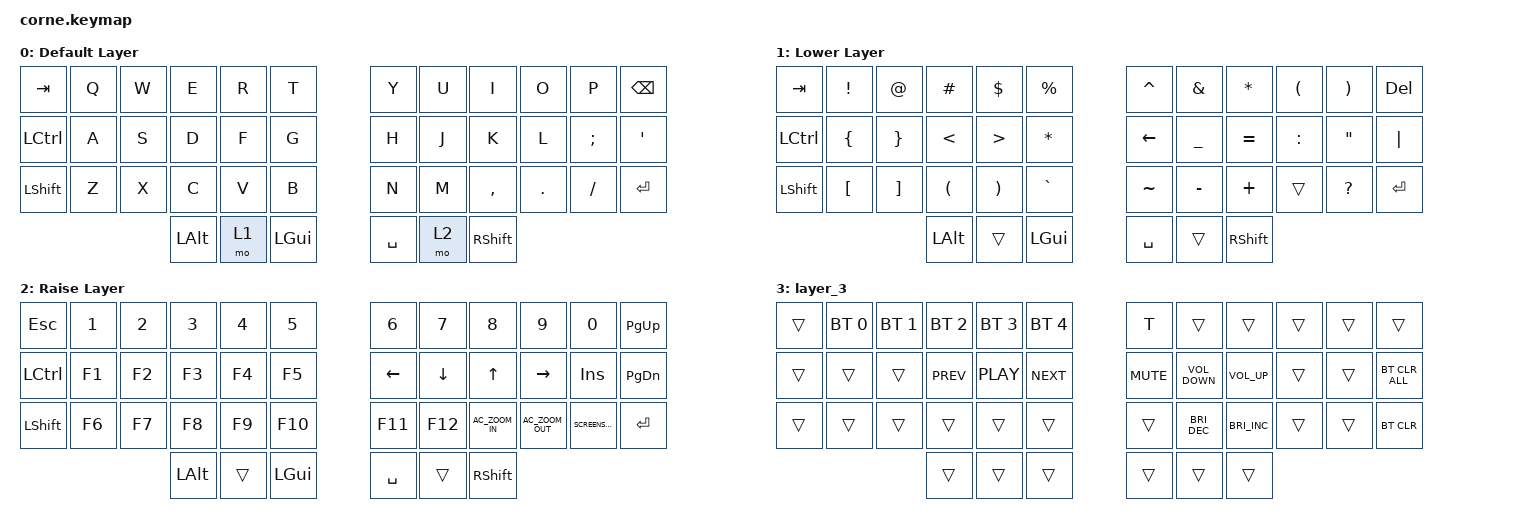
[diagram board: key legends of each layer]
/*
 * Copyright (c) 2020 The ZMK Contributors
 *
 * SPDX-License-Identifier: MIT
 */

#include <behaviors.dtsi>
#include <dt-bindings/zmk/bt.h>
#include <dt-bindings/zmk/keys.h>

/ {
    combos {
        compatible = "zmk,combos";

        left_parenth {
            bindings = <&kp LEFT_PARENTHESIS>;
            key-positions = <4 5>;
        };

        right_parenth {
            bindings = <&kp RIGHT_PARENTHESIS>;
            key-positions = <7 6>;
        };

        left_brace {
            bindings = <&kp LEFT_BRACE>;
            key-positions = <16 17>;
        };

        right_brace {
            bindings = <&kp RIGHT_BRACE>;
            key-positions = <19 18>;
        };

        left_bracket {
            bindings = <&kp LEFT_BRACKET>;
            key-positions = <28 29>;
        };

        right_bracket {
            bindings = <&kp RIGHT_BRACKET>;
            key-positions = <31 30>;
        };

        third_layer {
            bindings = <&mo 3>;
            key-positions = <37 40>;
        };

        capslock {
            bindings = <&kp CAPS>;
            key-positions = <24 41>;
            layers = <0>;
        };

        escape {
            bindings = <&kp ESCAPE>;
            key-positions = <19 20>;
        };
    };

    keymap {
        compatible = "zmk,keymap";

        default_layer {
            display-name = "Default Layer";

            // -----------------------------------------------------------------------------------------
            // |  TAB |  Q  |  W  |  E  |  R  |  T  |   |  Y  |  U   |  I  |  O  |  P  | BSPC |
            // | CTRL |  A  |  S  |  D  |  F  |  G  |   |  H  |  J   |  K  |  L  |  ;  |  '   |
            // | SHFT |  Z  |  X  |  C  |  V  |  B  |   |  N  |  M   |  ,  |  .  |  /  | ESC  |
            //                    | GUI | LWR | SPC |   | ENT | RSE  | ALT |

            bindings = <
&kp TAB    &kp Q  &kp W  &kp E         &kp R  &kp T           &kp Y      &kp U  &kp I       &kp O    &kp P     &kp BSPC
&kp LCTRL  &kp A  &kp S  &kp D         &kp F  &kp G           &kp H      &kp J  &kp K       &kp L    &kp SEMI  &kp SQT
&kp LSHFT  &kp Z  &kp X  &kp C         &kp V  &kp B           &kp N      &kp M  &kp COMMA   &kp DOT  &kp FSLH  &kp ENTER
                         &kp LEFT_ALT  &mo 1  &kp LEFT_GUI    &kp SPACE  &mo 2  &kp RSHIFT
            >;
        };

        lower_layer {
            display-name = "Lower Layer";

            // -----------------------------------------------------------------------------------------
            // |  TAB |  1  |  2  |  3  |  4  |  5  |   |  6  |  7  |  8  |  9  |  0  | BSPC |
            // | BTCLR| BT1 | BT2 | BT3 | BT4 | BT5 |   | LFT | DWN |  UP | RGT |     |      |
            // | SHFT |     |     |     |     |     |   |     |     |     |     |     |      |
            //                    | GUI |     | SPC |   | ENT |     | ALT |

            bindings = <
&kp TAB     &kp EXCLAMATION   &kp AT_SIGN        &kp HASH              &kp DOLLAR             &kp PERCENT     &kp CARET  &kp AMPERSAND   &kp ASTERISK  &kp LEFT_PARENTHESIS  &kp RIGHT_PARENTHESIS  &kp DELETE
&kp LCTRL   &kp LEFT_BRACE    &kp RIGHT_BRACE    &kp LESS_THAN         &kp GREATER_THAN       &kp ASTERISK    &kp LEFT   &kp UNDERSCORE  &kp EQUAL     &kp COLON             &kp DOUBLE_QUOTES      &kp PIPE
&kp LSHIFT  &kp LEFT_BRACKET  &kp RIGHT_BRACKET  &kp LEFT_PARENTHESIS  &kp RIGHT_PARENTHESIS  &kp GRAVE       &kp TILDE  &kp MINUS       &kp PLUS      &trans                &kp QUESTION           &kp ENTER
                                                 &kp LEFT_ALT          &trans                 &kp LEFT_GUI    &kp SPACE  &trans          &kp RSHIFT
            >;
        };

        raise_layer {
            display-name = "Raise Layer";

            // -----------------------------------------------------------------------------------------
            // |  TAB |  !  |  @  |  #  |  $  |  %  |   |  ^  |  &  |  *  |  (  |  )  | BSPC |
            // | CTRL |     |     |     |     |     |   |  -  |  =  |  [  |  ]  |  \  |  `   |
            // | SHFT |     |     |     |     |     |   |  _  |  +  |  {  |  }  | "|" |  ~   |
            //                    | GUI |     | SPC |   | ENT |     | ALT |

            bindings = <
&kp ESCAPE  &kp NUMBER_1  &kp NUMBER_2  &kp NUMBER_3  &kp NUMBER_4  &kp N5          &kp NUMBER_6    &kp NUMBER_7  &kp NUMBER_8      &kp NUMBER_9       &kp NUMBER_0       &kp PAGE_UP
&kp LCTRL   &kp F1        &kp F2        &kp F3        &kp F4        &kp F5          &kp LEFT_ARROW  &kp DOWN      &kp UP_ARROW      &kp RIGHT          &kp INSERT         &kp PAGE_DOWN
&kp LSHFT   &kp F6        &kp F7        &kp F8        &kp F9        &kp F10         &kp F11         &kp F12       &kp C_AC_ZOOM_IN  &kp C_AC_ZOOM_OUT  &kp K_SCREENSAVER  &kp RETURN
                                        &kp LEFT_ALT  &trans        &kp LEFT_GUI    &kp SPACE       &trans        &kp RSHIFT
            >;
        };

        layer_3 {
            bindings = <
&trans  &bt BT_SEL 0  &bt BT_SEL 1  &bt BT_SEL 2  &bt BT_SEL 3  &bt BT_SEL 4    &kp T       &trans                &trans                &trans  &trans  &trans
&trans  &trans        &trans        &kp C_PREV    &kp C_PLAY    &kp C_NEXT      &kp K_MUTE  &kp C_VOLUME_DOWN     &kp C_VOLUME_UP       &trans  &trans  &bt BT_CLR_ALL
&trans  &trans        &trans        &trans        &trans        &trans          &trans      &kp C_BRIGHTNESS_DEC  &kp C_BRIGHTNESS_INC  &trans  &trans  &bt BT_CLR
                                    &trans        &trans        &trans          &trans      &trans                &trans
            >;
        };
    };
};
